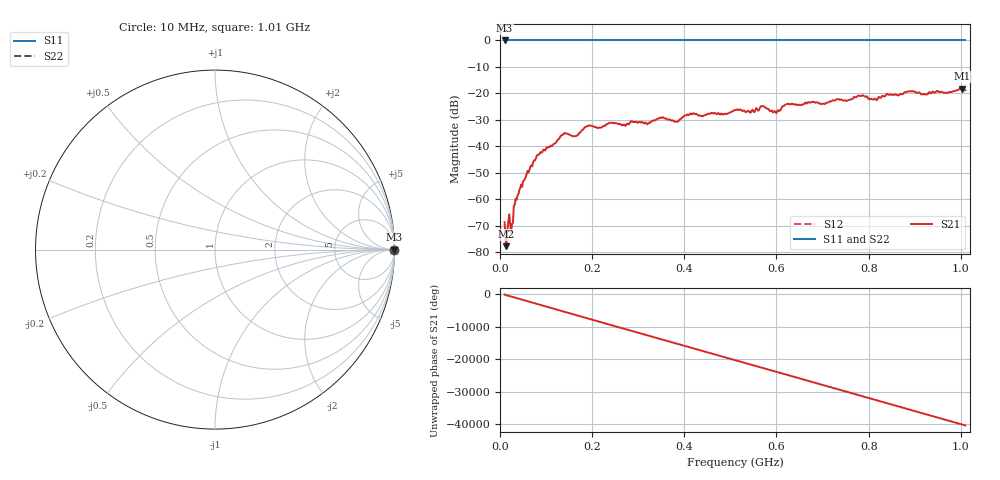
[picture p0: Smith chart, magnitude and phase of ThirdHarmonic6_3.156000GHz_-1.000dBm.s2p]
! 8/17/2025 9:27:52 AM
! C:\ANRITSUVNA\TEMP\TEMP.S2P
! CHANNEL.1
! TR.MEASUREMENT
! RAW.DATA
! RF.CORRECTION.OFF
! AVERAGING.OFF
! IF.BANDWIDTH: 5KHZ
! SWEEPTYPE:  FREQ.SWEEP(Linear)
! Reference Plane Port Info
! PORT:  PORT1  PORT2
! DISTANCE:  0  m  0  m
! TIME:  0  s  0  s
! PHASE.OFFSET:  0  deg.  0  deg.
! LOSS:  0  dB  0  dB
! REF.LOSS:  0  dB  0  dB
! REF.FREQ:  0  Hz  0  Hz
! Power Info
! POWER:  -20  dBm  -20  dBm
! EFF.POWER:  -20  dBm  -20  dBm
! SOURCE.ATTEN:  0  dB  0  dB
! TEST.ATTEN:  0  dB  0  dB
# GHZ S RI R 50.0
! FREQ.GHZ  S11RE  S11IM  S21RE  S21IM  S12RE  S12IM  S22RE  S22IM
!; PortSelection: Port_12
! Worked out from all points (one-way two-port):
!   501 points, 10 MHz to 1.01 GHz, reference 50 ohm
!   highest |S21| = -18.17 dB at 1.002 GHz (marker M1); lowest = -77.7 dB at 14 MHz (marker M2)
!   lowest |S11| = 0.0 dB at 10 MHz (marker M3)
!   |S11| at or under -10 dB: nowhere
!   |S22| runs from 0.0 to 0.0 dB; largest |S21 - S12| = 1.1
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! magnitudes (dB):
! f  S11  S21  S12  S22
! 10 MHz  0.0  -68.7  0.0  0.0
! 14 MHz  0.0  -77.7  0.0  0.0
! 26 MHz  0.0  -69.4  0.0  0.0
! 34 MHz  0.0  -59.8  0.0  0.0
! 42 MHz  0.0  -56.6  0.0  0.0
! 82 MHz  0.0  -43.3  0.0  0.0
! 136 MHz  0.0  -35.7  0.0  0.0
! 162 MHz  0.0  -36.1  0.0  0.0
! 178 MHz  0.0  -33.9  0.0  0.0
! 344 MHz  0.0  -29.6  0.0  0.0
! 382 MHz  0.0  -30.6  0.0  0.0
! 416 MHz  0.0  -27.9  0.0  0.0
! 510 MHz  0.0  -26.3  0.0  0.0
! 570 MHz  0.0  -24.8  0.0  0.0
! 596 MHz  0.0  -26.7  0.0  0.0
! 622 MHz  0.0  -24.1  0.0  0.0
! 678 MHz  0.0  -23.2  0.0  0.0
! 784 MHz  0.0  -21.0  0.0  0.0
! 814 MHz  0.0  -22.0  0.0  0.0
! 844 MHz  0.0  -20.5  0.0  0.0
! 1.002 GHz  0.0  -18.2  0.0  0.0
! 1.01 GHz  0.0  -18.8  0.0  0.0
